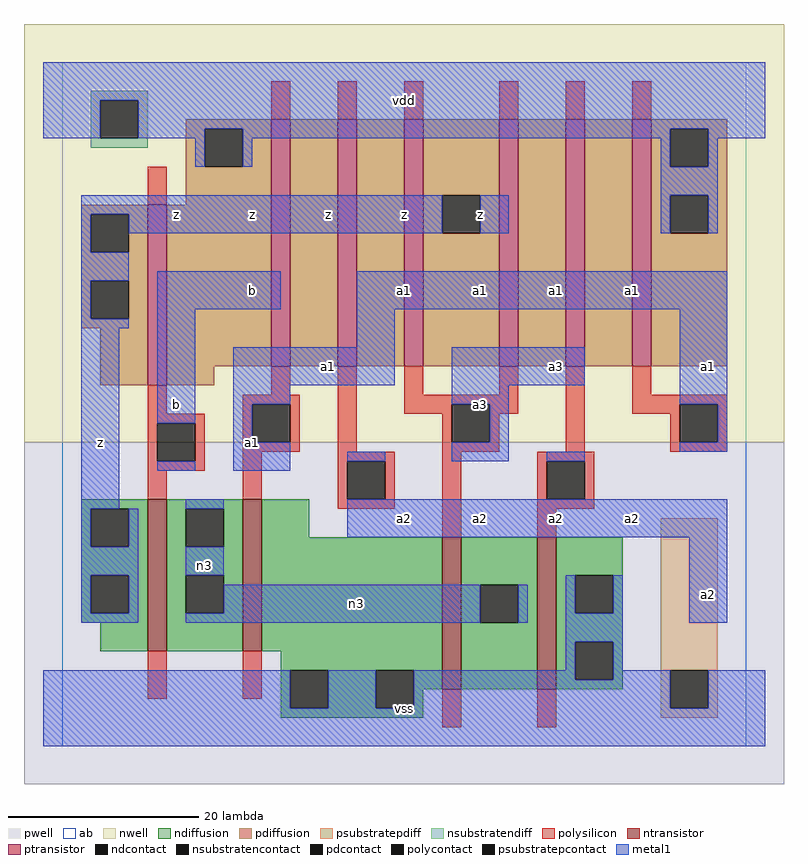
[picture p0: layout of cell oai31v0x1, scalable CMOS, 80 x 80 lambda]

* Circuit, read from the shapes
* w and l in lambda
.subckt oai31v0x1 a1 a2 a3 b n3 vdd vss z
M1 n3 b z vss nfet w=16 l=2
M2 vss a1 n3 vss nfet w=16 l=2
M3 n3 a3 vss vss nfet w=16 l=2
M4 vss a2 n3 vss nfet w=16 l=2
M5 vdd b z vdd pfet w=19 l=2
M6 n1 a1 vdd vdd pfet w=26 l=2
M7 n2 a2 n1 vdd pfet w=26 l=2
M8 z a3 n2 vdd pfet w=26 l=2
M9 n4 a3 z vdd pfet w=26 l=2
M10 n5 a2 n4 vdd pfet w=26 l=2
M11 vdd a1 n5 vdd pfet w=26 l=2
.ends

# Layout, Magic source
magic
tech scmos
<< ab >>
rect 0 0 72 72
<< pwell >>
rect -4 -4 76 32
<< nwell >>
rect -4 32 76 76
<< polysilicon >>
rect 22 66 24 70
rect 29 66 31 70
rect 36 66 38 70
rect 46 66 48 70
rect 53 66 55 70
rect 60 66 62 70
rect 9 57 11 61
rect 9 35 11 38
rect 22 37 24 40
rect 19 36 25 37
rect 9 34 15 35
rect 9 30 10 34
rect 14 30 15 34
rect 9 29 15 30
rect 19 32 20 36
rect 24 32 25 36
rect 19 31 25 32
rect 29 31 31 40
rect 36 37 38 40
rect 46 37 48 40
rect 36 36 48 37
rect 36 35 41 36
rect 40 32 41 35
rect 45 35 48 36
rect 45 32 46 35
rect 40 31 46 32
rect 53 31 55 40
rect 60 37 62 40
rect 60 36 70 37
rect 60 35 65 36
rect 64 32 65 35
rect 69 32 70 36
rect 64 31 70 32
rect 9 26 11 29
rect 19 26 21 31
rect 29 30 35 31
rect 29 26 30 30
rect 34 26 35 30
rect 29 25 35 26
rect 40 22 42 31
rect 50 30 56 31
rect 50 26 51 30
rect 55 26 56 30
rect 50 25 56 26
rect 50 22 52 25
rect 9 5 11 10
rect 19 5 21 10
rect 40 2 42 6
rect 50 2 52 6
<< ndiffusion >>
rect 2 25 9 26
rect 2 21 3 25
rect 7 21 9 25
rect 2 18 9 21
rect 2 14 3 18
rect 7 14 9 18
rect 2 13 9 14
rect 4 10 9 13
rect 11 25 19 26
rect 11 21 13 25
rect 17 21 19 25
rect 11 18 19 21
rect 11 14 13 18
rect 17 14 19 18
rect 11 10 19 14
rect 21 22 26 26
rect 21 10 40 22
rect 23 8 40 10
rect 23 4 24 8
rect 28 4 33 8
rect 37 6 40 8
rect 42 17 50 22
rect 42 13 44 17
rect 48 13 50 17
rect 42 6 50 13
rect 52 18 59 22
rect 52 14 54 18
rect 58 14 59 18
rect 52 11 59 14
rect 52 7 54 11
rect 58 7 59 11
rect 52 6 59 7
rect 37 4 38 6
rect 23 3 38 4
<< pdiffusion >>
rect 13 65 22 66
rect 13 61 15 65
rect 19 61 22 65
rect 13 57 22 61
rect 2 56 9 57
rect 2 52 3 56
rect 7 52 9 56
rect 2 49 9 52
rect 2 45 3 49
rect 7 45 9 49
rect 2 44 9 45
rect 4 38 9 44
rect 11 40 22 57
rect 24 40 29 66
rect 31 40 36 66
rect 38 58 46 66
rect 38 54 40 58
rect 44 54 46 58
rect 38 40 46 54
rect 48 40 53 66
rect 55 40 60 66
rect 62 65 70 66
rect 62 61 64 65
rect 68 61 70 65
rect 62 58 70 61
rect 62 54 64 58
rect 68 54 70 58
rect 62 40 70 54
rect 11 38 16 40
<< metal1 >>
rect -2 68 74 72
rect -2 64 4 68
rect 8 65 74 68
rect 8 64 15 65
rect 14 61 15 64
rect 19 64 64 65
rect 19 61 20 64
rect 63 61 64 64
rect 68 64 74 65
rect 68 61 69 64
rect 63 58 69 61
rect 2 56 40 58
rect 2 52 3 56
rect 7 54 40 56
rect 44 54 47 58
rect 63 54 64 58
rect 68 54 69 58
rect 2 49 7 52
rect 2 45 3 49
rect 2 44 7 45
rect 10 46 23 50
rect 31 46 70 50
rect 2 25 6 44
rect 10 34 14 46
rect 31 42 35 46
rect 10 29 14 30
rect 18 38 35 42
rect 41 38 55 42
rect 18 36 24 38
rect 18 32 20 36
rect 18 29 24 32
rect 41 36 47 38
rect 45 32 47 36
rect 30 30 34 31
rect 41 30 47 32
rect 65 36 70 46
rect 69 32 70 36
rect 65 31 70 32
rect 51 30 55 31
rect 13 25 17 26
rect 2 21 3 25
rect 7 21 8 25
rect 2 18 8 21
rect 2 14 3 18
rect 7 14 8 18
rect 2 13 8 14
rect 30 22 70 26
rect 13 18 17 21
rect 17 14 44 17
rect 13 13 44 14
rect 48 13 49 17
rect 53 14 54 18
rect 58 14 59 18
rect 53 11 59 14
rect 66 13 70 22
rect 53 8 54 11
rect -2 4 24 8
rect 28 4 33 8
rect 37 7 54 8
rect 58 8 59 11
rect 58 7 64 8
rect 37 4 64 7
rect 68 4 74 8
rect -2 0 74 4
<< ntransistor >>
rect 9 10 11 26
rect 19 10 21 26
rect 40 6 42 22
rect 50 6 52 22
<< ptransistor >>
rect 9 38 11 57
rect 22 40 24 66
rect 29 40 31 66
rect 36 40 38 66
rect 46 40 48 66
rect 53 40 55 66
rect 60 40 62 66
<< polycontact >>
rect 10 30 14 34
rect 20 32 24 36
rect 41 32 45 36
rect 65 32 69 36
rect 30 26 34 30
rect 51 26 55 30
<< ndcontact >>
rect 3 21 7 25
rect 3 14 7 18
rect 13 21 17 25
rect 13 14 17 18
rect 24 4 28 8
rect 33 4 37 8
rect 44 13 48 17
rect 54 14 58 18
rect 54 7 58 11
<< pdcontact >>
rect 15 61 19 65
rect 3 52 7 56
rect 3 45 7 49
rect 40 54 44 58
rect 64 61 68 65
rect 64 54 68 58
<< psubstratepcontact >>
rect 64 4 68 8
<< nsubstratencontact >>
rect 4 64 8 68
<< psubstratepdiff >>
rect 63 8 69 24
rect 63 4 64 8
rect 68 4 69 8
rect 63 3 69 4
<< nsubstratendiff >>
rect 3 68 9 69
rect 3 64 4 68
rect 8 64 9 68
rect 3 63 9 64
<< labels >>
rlabel metal1 4 32 4 32 6 z
rlabel metal1 15 19 15 19 6 n3
rlabel metal1 20 32 20 32 6 a1
rlabel metal1 12 36 12 36 6 b
rlabel metal1 20 48 20 48 6 b
rlabel metal1 20 56 20 56 6 z
rlabel metal1 12 56 12 56 6 z
rlabel metal1 36 4 36 4 6 vss
rlabel metal1 36 24 36 24 6 a2
rlabel metal1 28 40 28 40 6 a1
rlabel metal1 36 48 36 48 6 a1
rlabel metal1 36 56 36 56 6 z
rlabel metal1 28 56 28 56 6 z
rlabel metal1 36 68 36 68 6 vdd
rlabel metal1 31 15 31 15 6 n3
rlabel metal1 44 24 44 24 6 a2
rlabel metal1 52 24 52 24 6 a2
rlabel metal1 44 36 44 36 6 a3
rlabel metal1 52 40 52 40 6 a3
rlabel metal1 44 48 44 48 6 a1
rlabel metal1 52 48 52 48 6 a1
rlabel metal1 44 56 44 56 6 z
rlabel metal1 68 16 68 16 6 a2
rlabel metal1 60 24 60 24 6 a2
rlabel metal1 68 40 68 40 6 a1
rlabel metal1 60 48 60 48 6 a1
<< end >>
